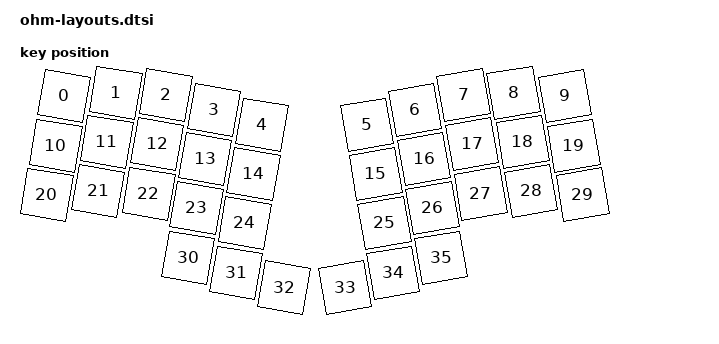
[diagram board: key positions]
#include <dt-bindings/zmk/matrix_transform.h> // Put this with the other includes at the top of your dtsi
#include <physical_layouts.dtsi>

// Positions derived from Fusion 360 switch-center coordinates (left-side.csv).
// scale = 5.249 cu/mm (100 cu / 19.05 mm MX pitch).
// cu_cx = csv_x * 5.249 + 589,  cu_cy = -csv_y * 5.249 + 122
// Right half mirrored: cx_right = 1178 - cx_left, cy_right = cy_left
// x = cx - 50, y = cy - 50, rx = cx, ry = cy
// rot: 1000 = 10° CW (left half), -1000 = 10° CCW (right half).
//
/ {
    physical_layout0: physical_layout_0 {
        compatible = "zmk,physical-layout";
        display-name = "Default";

        kscan = <&kscan0>;
        transform = <&default_transform>;

        keys  //                     w   h    x    y     rot    rx    ry
            // Left row 0  (Q W E R T)
            = <&key_physical_attrs 100 100   38   18    1000    88    68>
            , <&key_physical_attrs 100 100  141   11    1000   191    61>
            , <&key_physical_attrs 100 100  241   16    1000   291    66>
            , <&key_physical_attrs 100 100  338   46    1000   388    96>
            , <&key_physical_attrs 100 100  434   75    1000   484   125>
            // Right row 0  (Y U I O P)
            , <&key_physical_attrs 100 100  644   75   (-1000)  694   125>
            , <&key_physical_attrs 100 100  740   46   (-1000)  790    96>
            , <&key_physical_attrs 100 100  837   16   (-1000)  887    66>
            , <&key_physical_attrs 100 100  937   11   (-1000)  987    61>
            , <&key_physical_attrs 100 100 1040   18   (-1000) 1090    68>
            // Left row 1  (A S D F G)
            , <&key_physical_attrs 100 100   21  117    1000    71   167>
            , <&key_physical_attrs 100 100  123  109    1000   173   159>
            , <&key_physical_attrs 100 100  224  114    1000   274   164>
            , <&key_physical_attrs 100 100  320  144    1000   370   194>
            , <&key_physical_attrs 100 100  417  174    1000   467   224>
            // Right row 1  (H J K L ;)
            , <&key_physical_attrs 100 100  661  174   (-1000)  711   224>
            , <&key_physical_attrs 100 100  758  144   (-1000)  808   194>
            , <&key_physical_attrs 100 100  854  114   (-1000)  904   164>
            , <&key_physical_attrs 100 100  955  109   (-1000) 1005   159>
            , <&key_physical_attrs 100 100 1057  117   (-1000) 1107   167>
            // Left row 2  (Z X C V B)
            , <&key_physical_attrs 100 100    3  215    1000    53   265>
            , <&key_physical_attrs 100 100  106  208    1000   156   258>
            , <&key_physical_attrs 100 100  207  213    1000   257   263>
            , <&key_physical_attrs 100 100  303  242    1000   353   292>
            , <&key_physical_attrs 100 100  399  272    1000   449   322>
            // Right row 2  (N M , . ')
            , <&key_physical_attrs 100 100  679  272   (-1000)  729   322>
            , <&key_physical_attrs 100 100  775  242   (-1000)  825   292>
            , <&key_physical_attrs 100 100  871  213   (-1000)  921   263>
            , <&key_physical_attrs 100 100  972  208   (-1000) 1022   258>
            , <&key_physical_attrs 100 100 1075  215   (-1000) 1125   265>
            // Left thumb
            , <&key_physical_attrs 100 100  286  341    1000   336   391>
            , <&key_physical_attrs 100 100  382  371    1000   432   421>
            , <&key_physical_attrs 100 100  478  401    1000   528   451>
            // Right thumb
            , <&key_physical_attrs 100 100  600  401   (-1000)  650   451>
            , <&key_physical_attrs 100 100  696  371   (-1000)  746   421>
            , <&key_physical_attrs 100 100  792  341   (-1000)  842   391>
            ;
    };
};

/ {
    chosen {
        zmk,physical-layout = &physical_layout0;
        // Other chosen items
    };
};
